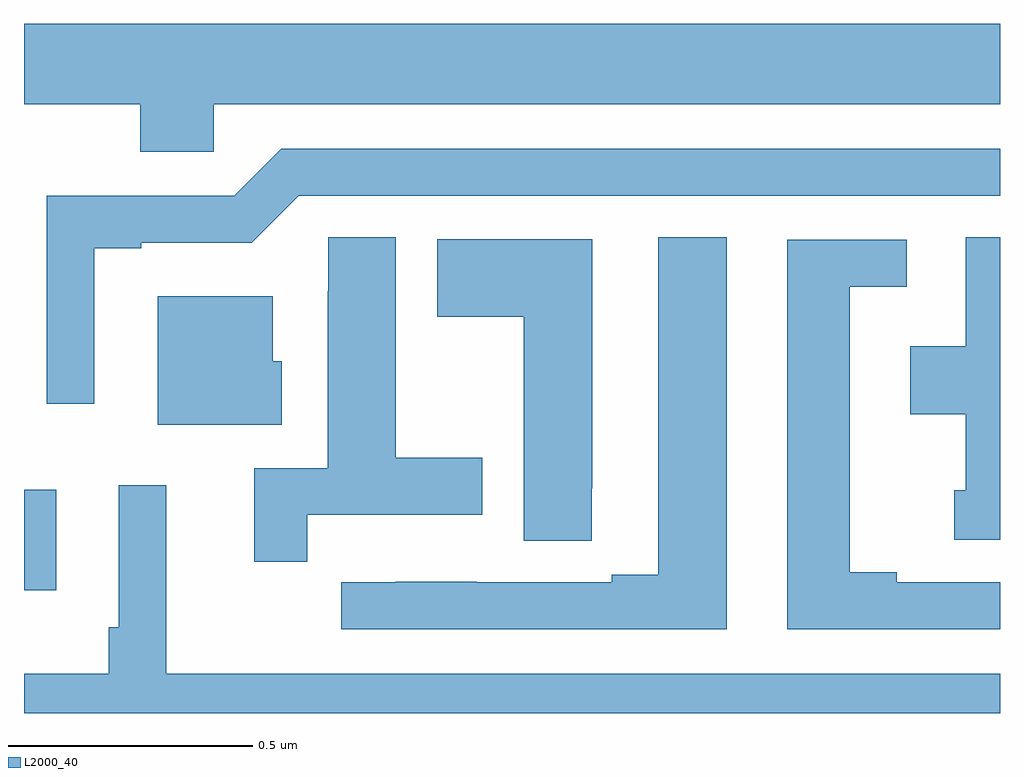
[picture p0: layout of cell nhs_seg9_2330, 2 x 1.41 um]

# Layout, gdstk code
import gdstk
lib = gdstk.Library(unit=1e-6, precision=1e-09)
def R(c, l, rs):  # rectangles x0, y0, x1, y1
    for r in rs: c.add(gdstk.rectangle(r[:2], r[2:], *l))
def P(c, l, *ps):  # polygons
    for p in ps: c.add(gdstk.Polygon(p, *l))
L2000_40 = (2000, 40)

nhs_seg9_2330 = lib.new_cell('nhs_seg9_2330')
R(nhs_seg9_2330, L2000_40, [(139,1200.752,139.066,1200.958)])
P(nhs_seg9_2330, L2000_40, [(139.389,1201.748),(141,1201.748),(141,1201.912),(139,1201.912),(139,1201.748),(139.238,1201.748),(139.238,1201.65),(139.389,1201.65)],
  [(139.144,1201.452),(139.24,1201.452),(139.24,1201.464),(139.467,1201.464),(139.563,1201.56),(141,1201.56),(141,1201.656),(139.527,1201.656),(139.431,1201.56),(139.047,1201.56),(139.047,1201.134),(139.144,1201.134)],
  [(140.44,1201.475),(140.3,1201.475),(140.3,1200.783),(140.204,1200.783),(140.204,1200.768),(139.928,1200.768),(139.928,1200.769),(139.762,1200.769),(139.762,1200.768),(139.65,1200.768),(139.65,1200.672),(140.44,1200.672)],
  [(141,1201.475),(140.93,1201.475),(140.93,1201.252),(140.816,1201.252),(140.816,1201.112),(140.93,1201.112),(140.93,1200.957),(140.906,1200.957),(140.906,1200.855),(141,1200.855)],
  [(139.58,1200.906),(139.939,1200.906),(139.939,1201.023),(139.762,1201.023),(139.762,1201.475),(139.623,1201.475),(139.623,1201.364),(139.622,1201.364),(139.622,1201.002),(139.472,1201.002),(139.472,1200.81),(139.58,1200.81)],
  [(140.163,1200.961),(140.164,1200.961),(140.164,1201.471),(139.847,1201.471),(139.847,1201.312),(140.024,1201.312),(140.024,1200.853),(140.163,1200.853)],
  [(141,1200.768),(140.788,1200.768),(140.788,1200.788),(140.692,1200.788),(140.692,1201.374),(140.809,1201.374),(140.809,1201.47),(140.564,1201.47),(140.564,1200.672),(141,1200.672)],
  [(139.528,1201.221),(139.51,1201.221),(139.51,1201.354),(139.274,1201.354),(139.274,1201.091),(139.528,1201.091)],
  [(141,1200.58),(139.292,1200.58),(139.292,1200.967),(139.194,1200.967),(139.194,1200.676),(139.174,1200.676),(139.174,1200.58),(139,1200.58),(139,1200.5),(141,1200.5)])

lib.write_gds('nhs_seg9_2330.gds')
